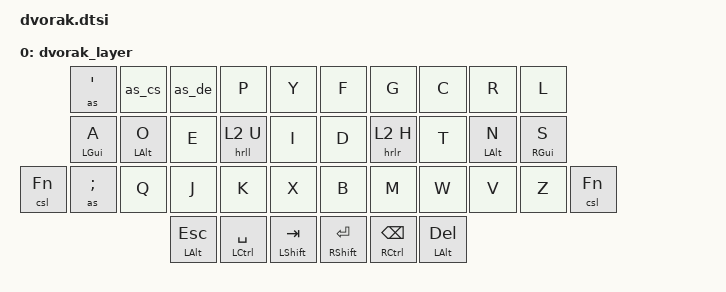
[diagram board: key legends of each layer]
/**
 * Alpha Layer - Colemak
 */

/ {
  keymap {
    compatible = "zmk,keymap";

    dvorak_layer {
      display-name = DISPLAY_NAME;
      bindings = <
//                 ╭───────────────┬───────────────┬───────────────┬───────────────┬───────────────╮   ╭───────────────┬───────────────┬───────────────┬───────────────┬───────────────╮
//                 │0              │1              │2              │3              │4              │   │5              │6              │7              │8              │9              │
                    &as SQT         &as_cs          &as_de          &kp P           &kp Y               &kp F           &kp G           &kp C           &kp R           &kp L
//                 ├───────────────┼───────────────┼───────────────┼───────────────┼───────────────┤   ├───────────────├───────────────┼───────────────┼───────────────┼───────────────┤
//                 │10             │11             │12             │13             │14             │   │15             │16             │17             │18             │19             │
                    &hrml LGUI A    &hrml LALT O    &kp E           &hrll L2 U      &kp I               &kp D           &hrlr L2 H      &kp T           &hrmr LALT N    &hrmr RGUI S
// ╭───────────────┬───────────────┼───────────────┼───────────────┼───────────────┼───────────────┤   ├───────────────├───────────────┼───────────────┼───────────────┼───────────────┬───────────────╮
//  20             │21             │22             │23             │24             │25             │   │26             │27             │28             │29             │30             │31             │
    &csl Fn         &as SEMI        &kp Q           &kp J           &kp K           &kp X               &kp B           &kp M           &kp W           &kp V           &kp Z           &csl Fn
// ╰───────────────┴───────────────┴───────────────┼───────────────┼───────────────┼───────────────┤   ├───────────────├───────────────┼───────────────┼───────────────┴───────────────┴───────────────╯
//                                                 │32             │33             │34             │   │35             │36             │37             │
                                                    &mt LALT ESC    &mt LCTRL SPACE &mt LSHFT TAB       &mt RSHFT RET   &mt RCTRL BSPC  &mt LALT DEL
//                                                 ╰───────────────┴───────────────┴───────────────╯   ╰───────────────┴───────────────┴───────────────╯
      >;
    };
  };
};
